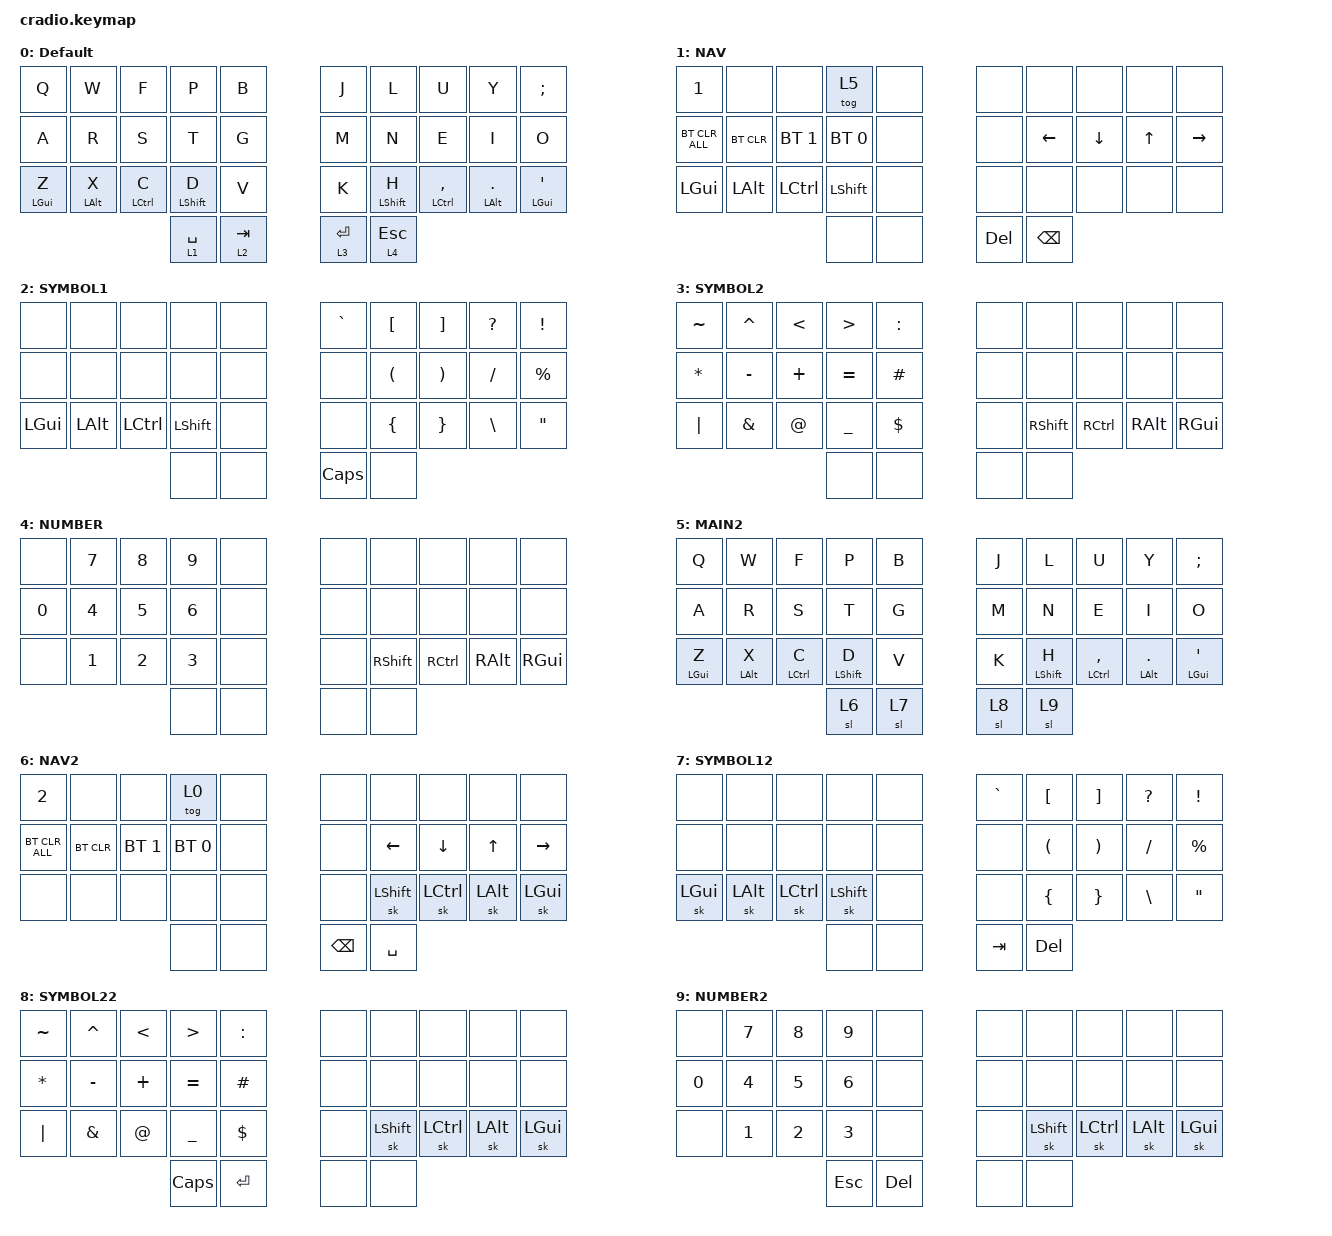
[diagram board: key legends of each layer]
#include <behaviors.dtsi>
#include <dt-bindings/zmk/bt.h>
#include <dt-bindings/zmk/keys.h>

#define DEFAULT 0
#define NAV     1
#define SYM     2
#define FUNC    3
#define MEDIA   4
#define MOUSE   5
#define WINNAV  6

&caps_word { continue-list = <UNDERSCORE MINUS>; };

&lt { tapping-term-ms = <150>; };

/ {
    behaviors {
        hm: homerow_mods {
            compatible = "zmk,behavior-hold-tap";
            label = "HOMEROW_MODS";
            #binding-cells = <2>;
            tapping-term-ms = <150>;
            quick_tap_ms = <0>;
            flavor = "balanced";
            bindings = <&kp>, <&kp>;
        };
    };

    keymap {
        compatible = "zmk,keymap";

        MAIN {
            label = "Default";
            bindings = <
&kp Q           &kp W           &kp F               &kp P         &kp B        &kp J        &kp L             &kp U                   &kp Y             &kp SEMI
&kp A           &kp R           &kp S               &kp T         &kp G        &kp M        &kp N             &kp E                   &kp I             &kp O
&hm LEFT_GUI Z  &hm LEFT_ALT X  &hm LEFT_CONTROL C  &hm LSHIFT D  &kp V        &kp K        &hm LEFT_SHIFT H  &hm LEFT_CONTROL COMMA  &hm LEFT_ALT DOT  &hm LEFT_GUI APOS
                                                    &lt 1 SPACE   &lt 2 TAB    &lt 3 ENTER  &lt 4 ESCAPE
            >;
        };

        NAV {
            bindings = <
&kp NUMBER_1    &none         &none             &tog 5          &none    &none       &none           &none           &none         &none
&bt BT_CLR_ALL  &bt BT_CLR    &bt BT_SEL 1      &bt BT_SEL 0    &none    &none       &kp LEFT_ARROW  &kp DOWN_ARROW  &kp UP_ARROW  &kp RIGHT_ARROW
&kp LEFT_GUI    &kp LEFT_ALT  &kp LEFT_CONTROL  &kp LEFT_SHIFT  &none    &none       &none           &none           &none         &none
                                                &none           &none    &kp DELETE  &kp BACKSPACE
            >;
        };

        SYMBOL1 {
            bindings = <
&none         &none         &none             &none           &none    &kp GRAVE  &kp LEFT_BRACKET      &kp RIGHT_BRACKET      &kp QUESTION   &kp EXCL
&none         &none         &none             &none           &none    &none      &kp LEFT_PARENTHESIS  &kp RIGHT_PARENTHESIS  &kp SLASH      &kp PERCENT
&kp LEFT_GUI  &kp LEFT_ALT  &kp LEFT_CONTROL  &kp LEFT_SHIFT  &none    &none      &kp LEFT_BRACE        &kp RIGHT_BRACE        &kp BACKSLASH  &kp DOUBLE_QUOTES
                                              &none           &none    &kp CAPS   &none
            >;
        };

        SYMBOL2 {
            bindings = <
&kp TILDE  &kp CARET      &kp LESS_THAN  &kp GREATER_THAN  &kp COLON     &none  &none            &none              &none          &none
&kp STAR   &kp MINUS      &kp PLUS       &kp EQUAL         &kp HASH      &none  &none            &none              &none          &none
&kp PIPE   &kp AMPERSAND  &kp AT         &kp UNDER         &kp DOLLAR    &none  &kp RIGHT_SHIFT  &kp RIGHT_CONTROL  &kp RIGHT_ALT  &kp RIGHT_GUI
                                         &none             &none         &none  &none
            >;
        };

        NUMBER {
            bindings = <
&none         &kp NUMBER_7  &kp N8        &kp NUMBER_9  &none    &none  &none            &none              &none          &none
&kp NUMBER_0  &kp NUMBER_4  &kp NUMBER_5  &kp NUMBER_6  &none    &none  &none            &none              &none          &none
&none         &kp NUMBER_1  &kp NUMBER_2  &kp NUMBER_3  &none    &none  &kp RIGHT_SHIFT  &kp RIGHT_CONTROL  &kp RIGHT_ALT  &kp RIGHT_GUI
                                          &none         &none    &none  &none
            >;
        };

        MAIN2 {
            bindings = <
&kp Q           &kp W           &kp F               &kp P             &kp B    &kp J  &kp L             &kp U                   &kp Y                &kp SEMI
&kp A           &kp R           &kp S               &kp T             &kp G    &kp M  &kp N             &kp E                   &kp I                &kp O
&hm LEFT_GUI Z  &hm LEFT_ALT X  &hm LEFT_CONTROL C  &hm LEFT_SHIFT D  &kp V    &kp K  &hm LEFT_SHIFT H  &hm LEFT_CONTROL COMMA  &hm LEFT_ALT PERIOD  &hm LEFT_GUI SQT
                                                    &sl 6             &sl 7    &sl 8  &sl 9
            >;
        };

        NAV2 {
            bindings = <
&kp NUMBER_2    &none       &none         &tog 0        &none    &none          &none           &none             &none         &none
&bt BT_CLR_ALL  &bt BT_CLR  &bt BT_SEL 1  &bt BT_SEL 0  &none    &none          &kp LEFT_ARROW  &kp DOWN_ARROW    &kp UP_ARROW  &kp RIGHT_ARROW
&none           &none       &none         &none         &none    &none          &sk LEFT_SHIFT  &sk LEFT_CONTROL  &sk LEFT_ALT  &sk LEFT_GUI
                                          &none         &none    &kp BACKSPACE  &kp SPACE
            >;
        };

        SYMBOL12 {
            bindings = <
&none         &none         &none             &none           &none    &kp GRAVE  &kp LEFT_BRACKET      &kp RIGHT_BRACKET      &kp QUESTION   &kp EXCL
&none         &none         &none             &none           &none    &none      &kp LEFT_PARENTHESIS  &kp RIGHT_PARENTHESIS  &kp SLASH      &kp PERCENT
&sk LEFT_GUI  &sk LEFT_ALT  &sk LEFT_CONTROL  &sk LEFT_SHIFT  &none    &none      &kp LEFT_BRACE        &kp RIGHT_BRACE        &kp BACKSLASH  &kp DOUBLE_QUOTES
                                              &none           &none    &kp TAB    &kp DELETE
            >;
        };

        SYMBOL22 {
            bindings = <
&kp TILDE  &kp CARET      &kp LESS_THAN  &kp GREATER_THAN  &kp COLON     &none  &none           &none             &none         &none
&kp STAR   &kp MINUS      &kp PLUS       &kp EQUAL         &kp HASH      &none  &none           &none             &none         &none
&kp PIPE   &kp AMPERSAND  &kp AT         &kp UNDER         &kp DOLLAR    &none  &sk LEFT_SHIFT  &sk LEFT_CONTROL  &sk LEFT_ALT  &sk LEFT_GUI
                                         &kp CAPSLOCK      &kp ENTER     &none  &none
            >;
        };

        NUMBER2 {
            bindings = <
&none         &kp NUMBER_7  &kp N8        &kp NUMBER_9  &none         &none  &none           &none             &none         &none
&kp NUMBER_0  &kp NUMBER_4  &kp NUMBER_5  &kp NUMBER_6  &none         &none  &none           &none             &none         &none
&none         &kp NUMBER_1  &kp NUMBER_2  &kp NUMBER_3  &none         &none  &sk LEFT_SHIFT  &sk LEFT_CONTROL  &sk LEFT_ALT  &sk LEFT_GUI
                                          &kp ESCAPE    &kp DELETE    &none  &none
            >;
        };
    };
};
